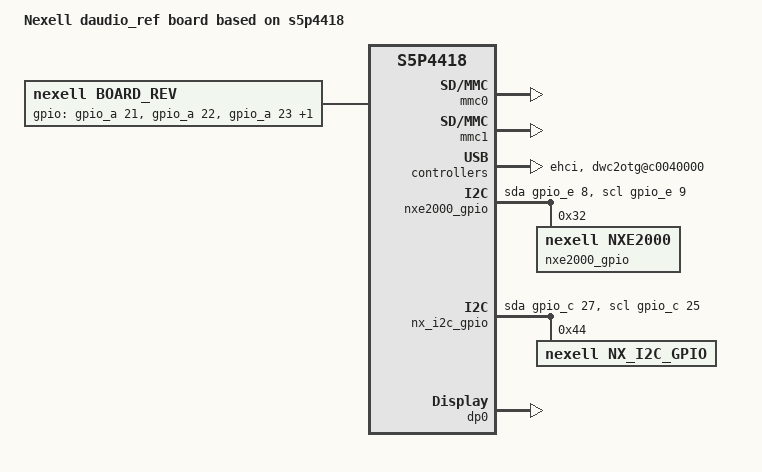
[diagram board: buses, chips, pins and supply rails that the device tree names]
/*
 * (C) Copyright 2016 Nexell
 * Youngbok, Park <park@nexell.co.kr>
 *
 * SPDX-License-Identifier:      GPL-2.0+
 */

/dts-v1/;
#include "s5p4418.dtsi"
#include "s5p4418-daudio-ref-nxe2000.dtsi"

/ {
	model = "Nexell daudio_ref board based on s5p4418";
	cpu-model = "S5p4418";

	compatible = "nexell,s5p4418";

	mmc0:mmc@c0062000 {
		nexell,drive_dly = <0x0>;
		nexell,drive_shift = <0x03>;
		nexell,sample_dly = <0x00>;
		nexell,sample_shift = <0x02>;
		frequency = <50000000>;
		status = "okay";
	};

	mmc1:mmc@c0068000 {
		nexell,drive_dly = <0x0>;
		nexell,drive_shift = <0x03>;
		nexell,sample_dly = <0x00>;
		nexell,sample_shift = <0x02>;
		frequency = <50000000>;
		status ="okay";
	};

	ehci:usbhost@c0030000 {
		status = "okay";
	};

	dwc2otg@c0040000 {
		status = "okay";
	};

	nxe2000_gpio:i2c_gpio@0 {
		compatible = "i2c-gpio";
		#address-cells = <1>;
		#size-cells = <0>;
		gpios = <&gpio_e 8 1>,	/* SDA */
		      <&gpio_e 9 1>;	/* SCL */
		i2c-gpio,delay-us = <3>;
		nxe2000_gpio@32 {
			compatible = "nexell,nxe2000";
			reg = <0x32>;
		};
	};

	nx_i2c_gpio:i2c_gpio@5 {
		#address-cells = <1>;
		#size-cells = <0>;
		compatible = "i2c-gpio";
		gpios = <&gpio_c 27 0>,
			<&gpio_c 25 0>;
		i2c-gpio,delay-us = <1>;
		nx_i2c_gpio@44 {
			compatible = "nexell,nx_i2c_gpio";
			reg = <0x44>;
			sda_pad = <1>;
			scl_pad = <1>;
		};
	};

	dp0:dp@c0102800 {
	        status = "okay";
	        module = <0>;
	        lcd-type = "lvds";

		dp-device {
			format = <0>;
		};

	        dp-sync {
			h_active_len = <1024>;
			h_front_porch = <160>;
			h_back_porch = <140>;
			h_sync_width = <20>;
			v_active_len = <600>;
			v_front_porch = <12>;
			v_back_porch = <20>;
			v_sync_width = <3>;
		};

		dp-ctrl {
			clk_src_lv0 = <3>;
			clk_div_lv0 = <12>;
			clk_src_lv1 = <7>;
			clk_div_lv1 = <1>;
			out_format = <2>;
		};

		dp-planes {
			layer_top {
				screen_width = <1024>;
				screen_height = <600>;
				back_color = <0x0>;
			};

			layer_1 {
				fb_base = <0x7A000000>;
				width = <1024>;
				height = <600>;
				format = <0x06530000>;
				pixel_byte = <4>;
			};
		};
	};

	board_rev:rev@0 {
		#address-cells = <1>;
		#size-cells = <0>;
		gpios = < &gpio_a 21 0 >,
		      < &gpio_a 22 0 >,
		      < &gpio_a 23 0 >,
		      < &gpio_a 24 0 >;
		maps = < 0 0 >,
		     < 10 1 >,
		     < 11 1 >,
		     < 15 0 >;
		compatible = "nexell,board_rev";
	};
};
